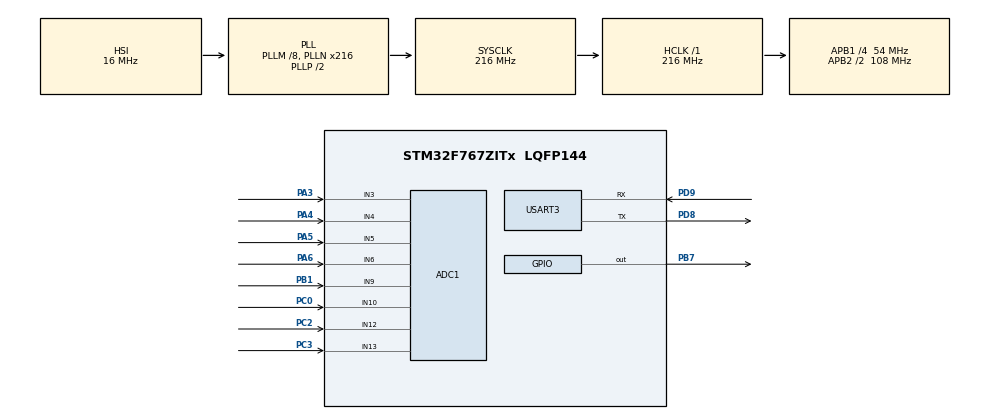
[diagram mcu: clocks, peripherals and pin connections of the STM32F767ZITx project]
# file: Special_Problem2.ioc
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ADC1.Channel-0\#ChannelRegularConversion=ADC_CHANNEL_3
ADC1.Channel-1\#ChannelRegularConversion=ADC_CHANNEL_10
ADC1.Channel-2\#ChannelRegularConversion=ADC_CHANNEL_4
ADC1.Channel-3\#ChannelRegularConversion=ADC_CHANNEL_5
ADC1.Channel-4\#ChannelRegularConversion=ADC_CHANNEL_6
ADC1.Channel-5\#ChannelRegularConversion=ADC_CHANNEL_9
ADC1.Channel-6\#ChannelRegularConversion=ADC_CHANNEL_12
ADC1.Channel-7\#ChannelRegularConversion=ADC_CHANNEL_13
ADC1.ClockPrescaler=ADC_CLOCK_SYNC_PCLK_DIV8
ADC1.ContinuousConvMode=ENABLE
ADC1.DMAContinuousRequests=ENABLE
ADC1.EOCSelection=ADC_EOC_SINGLE_CONV
ADC1.NbrOfConversion=8
ADC1.NbrOfConversionFlag=1
ADC1.Rank-0\#ChannelRegularConversion=1
ADC1.Rank-1\#ChannelRegularConversion=2
ADC1.Rank-2\#ChannelRegularConversion=3
ADC1.Rank-3\#ChannelRegularConversion=4
ADC1.Rank-4\#ChannelRegularConversion=5
ADC1.Rank-5\#ChannelRegularConversion=6
ADC1.Rank-6\#ChannelRegularConversion=7
ADC1.Rank-7\#ChannelRegularConversion=8
ADC1.SamplingTime-0\#ChannelRegularConversion=ADC_SAMPLETIME_15CYCLES
ADC1.SamplingTime-1\#ChannelRegularConversion=ADC_SAMPLETIME_15CYCLES
ADC1.SamplingTime-2\#ChannelRegularConversion=ADC_SAMPLETIME_15CYCLES
ADC1.SamplingTime-3\#ChannelRegularConversion=ADC_SAMPLETIME_15CYCLES
ADC1.SamplingTime-4\#ChannelRegularConversion=ADC_SAMPLETIME_15CYCLES
ADC1.SamplingTime-5\#ChannelRegularConversion=ADC_SAMPLETIME_15CYCLES
ADC1.SamplingTime-6\#ChannelRegularConversion=ADC_SAMPLETIME_15CYCLES
ADC1.SamplingTime-7\#ChannelRegularConversion=ADC_SAMPLETIME_15CYCLES
ADC1.ScanConvMode=ADC_SCAN_ENABLE
ADC1.master=1
Dma.ADC1.0.Direction=DMA_PERIPH_TO_MEMORY
Dma.ADC1.0.FIFOMode=DMA_FIFOMODE_ENABLE
Dma.ADC1.0.FIFOThreshold=DMA_FIFO_THRESHOLD_FULL
Dma.ADC1.0.Instance=DMA2_Stream0
Dma.ADC1.0.MemBurst=DMA_MBURST_SINGLE
Dma.ADC1.0.MemDataAlignment=DMA_MDATAALIGN_WORD
Dma.ADC1.0.MemInc=DMA_MINC_ENABLE
Dma.ADC1.0.Mode=DMA_CIRCULAR
Dma.ADC1.0.PeriphBurst=DMA_PBURST_SINGLE
Dma.ADC1.0.PeriphDataAlignment=DMA_PDATAALIGN_WORD
Dma.ADC1.0.PeriphInc=DMA_PINC_DISABLE
Dma.ADC1.0.Priority=DMA_PRIORITY_LOW
Dma.Request0=ADC1
Mcu.Family=STM32F7
Mcu.Name=STM32F767ZITx
Mcu.Package=LQFP144
NVIC.DMA2_Stream0_IRQn=true\:1\:0\:true\:false\:true\:false\:true\:true
NVIC.PriorityGroup=NVIC_PRIORITYGROUP_2
PA3.Signal=ADCx_IN3
PA4.Signal=ADCx_IN4
PA5.Signal=ADCx_IN5
PA6.Signal=ADCx_IN6
PB1.Signal=ADCx_IN9
PB7.Signal=GPIO_Output
PC0.Signal=ADCx_IN10
PC2.Signal=ADCx_IN12
PC3.Signal=ADCx_IN13
PD8.Mode=Asynchronous
PD8.Signal=USART3_TX
PD9.Mode=Asynchronous
PD9.Signal=USART3_RX
ProjectManager.HeapSize=0x200
ProjectManager.StackSize=0x400
ProjectManager.TargetToolchain=STM32CubeIDE
RCC.AHBFreq_Value=216000000
RCC.APB1CLKDivider=RCC_HCLK_DIV4
RCC.APB1Freq_Value=54000000
RCC.APB1TimFreq_Value=108000000
RCC.APB2CLKDivider=RCC_HCLK_DIV2
RCC.APB2Freq_Value=108000000
RCC.APB2TimFreq_Value=216000000
RCC.CortexFreq_Value=216000000
RCC.HCLKFreq_Value=216000000
RCC.HSE_VALUE=25000000
RCC.HSI_VALUE=16000000
RCC.LSE_VALUE=32768
RCC.PLLM=8
RCC.PLLN=216
RCC.SYSCLKFreq_VALUE=216000000
RCC.SYSCLKSource=RCC_SYSCLKSOURCE_PLLCLK
RCC.USBFreq_Value=216000000
RCC.VCOOutputFreq_Value=432000000
SH.ADCx_IN10.0=ADC1_IN10,IN10
SH.ADCx_IN12.0=ADC1_IN12,IN12
SH.ADCx_IN13.0=ADC1_IN13,IN13
SH.ADCx_IN3.0=ADC1_IN3,IN3
SH.ADCx_IN4.0=ADC1_IN4,IN4
SH.ADCx_IN5.0=ADC1_IN5,IN5
SH.ADCx_IN6.0=ADC1_IN6,IN6
SH.ADCx_IN9.0=ADC1_IN9,IN9
USART3.VirtualMode-Asynchronous=VM_ASYNC
board=custom

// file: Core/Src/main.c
/* USER CODE BEGIN Header */
/**
  ******************************************************************************
  * @file           : main.c
  * @brief          : Main program body
  ******************************************************************************
  * @attention
  *
  * Copyright (c) 2023 STMicroelectronics.
  * All rights reserved.
  *
  * This software is licensed under terms that can be found in the LICENSE file
  * in the root directory of this software component.
  * If no LICENSE file comes with this software, it is provided AS-IS.
  *
  ******************************************************************************
  */
/* USER CODE END Header */
#include "main.h"
#include "adc.h"
#include "dma.h"
#include "usart.h"
#include "gpio.h"

/* USER CODE BEGIN Includes */
#include "string.h"
/* USER CODE END Includes */

/* USER CODE BEGIN PV */
uint32_t adc_val[8];
/* USER CODE END PV */

void SystemClock_Config(void);

/* USER CODE BEGIN 0 */
void displayHex(void);
/* USER CODE END 0 */

int main(void)
{

  /* MCU Configuration--------------------------------------------------------*/

  /* Reset of all peripherals, Initializes the Flash interface and the Systick. */
  HAL_Init();

  /* Configure the system clock */
  SystemClock_Config();

  /* Initialize all configured peripherals */
  MX_GPIO_Init();
  MX_DMA_Init();
  MX_ADC1_Init();
  MX_USART3_UART_Init();
  /* USER CODE BEGIN 2 */
  HAL_ADC_Start_DMA(&hadc1, adc_val, 8);
  /* USER CODE END 2 */

  /* Infinite loop */
  while (1)
  {

  }
}

void SystemClock_Config(void)
{
  RCC_OscInitTypeDef RCC_OscInitStruct = {0};
  RCC_ClkInitTypeDef RCC_ClkInitStruct = {0};

  /** Configure the main internal regulator output voltage
  */
  __HAL_RCC_PWR_CLK_ENABLE();
  __HAL_PWR_VOLTAGESCALING_CONFIG(PWR_REGULATOR_VOLTAGE_SCALE1);

  /** Initializes the RCC Oscillators according to the specified parameters
  * in the RCC_OscInitTypeDef structure.
  */
  RCC_OscInitStruct.OscillatorType = RCC_OSCILLATORTYPE_HSI;
  RCC_OscInitStruct.HSIState = RCC_HSI_ON;
  RCC_OscInitStruct.HSICalibrationValue = RCC_HSICALIBRATION_DEFAULT;
  RCC_OscInitStruct.PLL.PLLState = RCC_PLL_ON;
  RCC_OscInitStruct.PLL.PLLSource = RCC_PLLSOURCE_HSI;
  RCC_OscInitStruct.PLL.PLLM = 8;
  RCC_OscInitStruct.PLL.PLLN = 216;
  RCC_OscInitStruct.PLL.PLLP = RCC_PLLP_DIV2;
  RCC_OscInitStruct.PLL.PLLQ = 2;
  RCC_OscInitStruct.PLL.PLLR = 2;
  if (HAL_RCC_OscConfig(&RCC_OscInitStruct) != HAL_OK)
  {
    Error_Handler();
  }

  /** Activate the Over-Drive mode
  */
  if (HAL_PWREx_EnableOverDrive() != HAL_OK)
  {
    Error_Handler();
  }

  /** Initializes the CPU, AHB and APB buses clocks
  */
  RCC_ClkInitStruct.ClockType = RCC_CLOCKTYPE_HCLK|RCC_CLOCKTYPE_SYSCLK
                              |RCC_CLOCKTYPE_PCLK1|RCC_CLOCKTYPE_PCLK2;
  RCC_ClkInitStruct.SYSCLKSource = RCC_SYSCLKSOURCE_PLLCLK;
  RCC_ClkInitStruct.AHBCLKDivider = RCC_SYSCLK_DIV1;
  RCC_ClkInitStruct.APB1CLKDivider = RCC_HCLK_DIV4;
  RCC_ClkInitStruct.APB2CLKDivider = RCC_HCLK_DIV2;

  if (HAL_RCC_ClockConfig(&RCC_ClkInitStruct, FLASH_LATENCY_7) != HAL_OK)
  {
    Error_Handler();
  }
}

/* USER CODE BEGIN 4 */
void displayHex()
{
	uint8_t resistor1[128];
	uint8_t resistor2[128];

	sprintf(resistor1, "Ch3 : 0x%X, Ch4 : 0x%X, Ch5 : 0x%X, Ch6 : 0x%X", adc_val[0], adc_val[2], adc_val[3], adc_val[4]);
	sprintf(resistor2, " | Ch9 : 0x%X, Ch10 : 0x%X, Ch12 : 0x%X, Ch13 : 0x%X,", adc_val[1], adc_val[5], adc_val[6], adc_val[7]);
	while (__HAL_UART_GET_FLAG(&huart3, UART_FLAG_TC) == RESET){}
	HAL_UART_Transmit(&huart3, resistor1, strlen(resistor1), 100);
	HAL_UART_Transmit(&huart3, resistor2, strlen(resistor2), 100);
	HAL_UART_Transmit(&huart3, "\n\r", 2, 100);
}

void HAL_ADC_ConvCpltCallback(ADC_HandleTypeDef* hadc)
{
	HAL_Delay(200);
	HAL_GPIO_WritePin(GPIOB, GPIO_PIN_7, RESET);
	HAL_UART_Transmit(&huart3, "ON\n\r", 4, 100);
}

void HAL_ADC_ConvHalfCpltCallback(ADC_HandleTypeDef* hadc)
{
	HAL_Delay(200);
	HAL_GPIO_WritePin(GPIOB, GPIO_PIN_7, SET);
	HAL_UART_Transmit(&huart3, "OFF\n\r", 5, 100);
	HAL_Delay(100);
	displayHex();
}
/* USER CODE END 4 */

void Error_Handler(void)
{
  __disable_irq();
  while (1)
  {
  }
}
